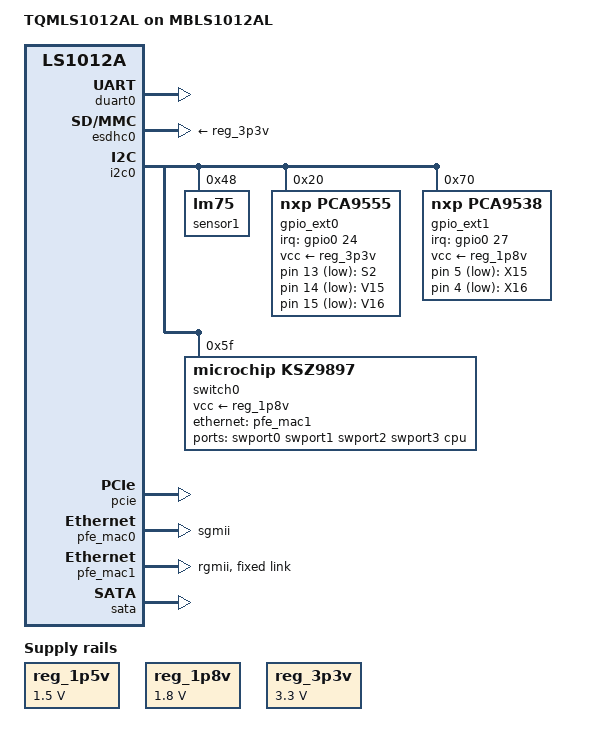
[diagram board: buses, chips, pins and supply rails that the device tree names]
// SPDX-License-Identifier: GPL-2.0
/*
 * Device Tree file for TQ LS1012A MBLS1012AL Board.
 *
 * Copyright 2018 TQ Systems GmbH
 * Max Merchel <Max.Merchel@tq-group.com>
 */

/dts-v1/;

#include "ls1012a-tqmls1012al.dtsi"
#include <dt-bindings/gpio/gpio.h>
#include <dt-bindings/input/input.h>

/ {
	model = "TQMLS1012AL on MBLS1012AL";
	compatible = "tqc,ls1012a-tqmls1012al-tqmbls1012al", "fsl,ls1012a";

	aliases {
		serial0 = &duart0;
		/* use MAC from U-Boot environment */
		ethernet0 = &pfe_mac0;
		ethernet1 = &pfe_mac1;
	};

	chosen {
		linux,stdout-path = &duart0;
		stdout-path = &duart0;
	};

	keys {
		compatible = "gpio-keys";
		autorepeat;
		status = "okay";

		s2 {
			label = "S2";
			linux,code = <BTN_0>;
			gpios = <&gpio_ext0 13 GPIO_ACTIVE_LOW>;
		};

		x15 {
			label = "X15";
			linux,code = <BTN_1>;
			gpios = <&gpio_ext1 5 GPIO_ACTIVE_LOW>;
		};

		x16 {
			label = "X16";
			linux,code = <BTN_2>;
			gpios = <&gpio_ext1 4 GPIO_ACTIVE_LOW>;
		};
	};

	leds {
		compatible = "gpio-leds";
		status = "okay";

		v15 {
			label = "V15";
			gpios = <&gpio_ext0 14 GPIO_ACTIVE_LOW>;
			linux,default-trigger = "heartbeat";
		};

		v16 {
			label = "V16";
			gpios = <&gpio_ext0 15 GPIO_ACTIVE_LOW>;
			default-state = "on";
		};
	};

	reg_1p5v: regulator_1p5v {
		compatible = "regulator-fixed";
		regulator-name = "1P5V";
		regulator-min-microvolt = <1500000>;
		regulator-max-microvolt = <1500000>;
		regulator-always-on;
	};

	reg_1p8v: regulator_1p8v {
		compatible = "regulator-fixed";
		regulator-name = "1P8V";
		regulator-min-microvolt = <1800000>;
		regulator-max-microvolt = <1800000>;
		regulator-always-on;
	};

	reg_3p3v: regulator_3p3v {
		compatible = "regulator-fixed";
		regulator-name = "3P3V";
		regulator-min-microvolt = <3300000>;
		regulator-max-microvolt = <3300000>;
		regulator-always-on;
	};
};

&duart0 {
	status = "okay";
};

&esdhc0 {
	vmmc-supply = <&reg_3p3v>;
	vqmmc-supply = <&reg_1p8v>;
	disable-wp;
	status = "okay";
};

&i2c0 {
	sensor1: lm75@48 {
		compatible = "lm75";
		reg = <0x48>;
		status = "okay";
	};

	gpio_ext0: pca9555@20 {
		compatible = "nxp,pca9555";
		reg = <0x20>;
		gpio-controller;
		#gpio-cells = <2>;
		vcc-supply = <&reg_3p3v>;
		interrupt-parent = <&gpio0>;
		interrupts = <24 IRQ_TYPE_EDGE_FALLING>;

		vcc_pcie_en_3v3 {
			gpio-hog;
			gpios = <1 GPIO_ACTIVE_HIGH>;
			output-high;
			line-name = "VCC_PCIE_EN_3V3";
		};

		pcie_rst {
			gpio-hog;
			gpios = <4 GPIO_ACTIVE_HIGH>;
			output-high;
			line-name = "PCIE_RST#";
		};

		eth_sw_rst {
			gpio-hog;
			gpios = <7 GPIO_ACTIVE_HIGH>;
			output-high;
			line-name = "ETH_SW_RST#";
		};

		pcie_dis {
			gpio-hog;
			gpios = <11 GPIO_ACTIVE_HIGH>;
			output-high;
			line-name = "PCIE_DIS#";
		};
	};

	gpio_ext1: pca9538@70 {
		compatible = "nxp,pca9538";
		reg = <0x70>;
		gpio-controller;
		#gpio-cells = <2>;
		vcc-supply = <&reg_1p8v>;
		interrupt-parent = <&gpio0>;
		interrupts = <27 IRQ_TYPE_EDGE_FALLING>;

		/* do not change PCIE_CLK_PD */
		pcie_clk_pd {
			gpio-hog;
			gpios = <0 GPIO_ACTIVE_HIGH>;
			output-high;
			line-name = "PCIE_CLK_PD#";
		};

		eth_link_pwrdwn {
			gpio-hog;
			gpios = <3 GPIO_ACTIVE_HIGH>;
			output-high;
			line-name = "ETH_LINK_PWRDWN#";
		};

		vcc_pcie_en_1v5 {
			gpio-hog;
			gpios = <7 GPIO_ACTIVE_HIGH>;
			output-high;
			line-name = "VCC_PCIE_EN_1V5";
		};
	};

	switch0: kzs9897@5f {
		compatible = "microchip,ksz9897";
		reg = <0x5f>;
		vcc-supply = <&reg_1p8v>;
		phy-mode = "rgmii";

		ports {
			#address-cells = <1>;
			#size-cells = <0>;

			port@0 {
				reg = <0>;
				label = "swport0";
			};

			port@1 {
				reg = <1>;
				label = "swport1";
			};

			port@2 {
				reg = <2>;
				label = "swport2";
			};

			port@3 {
				reg = <3>;
				label = "swport3";
			};

			port@6 {
				reg = <6>;
				label = "cpu";
				ethernet = <&pfe_mac1>;
				fixed-link {
					speed = <1000>;
					full-duplex;
				};
			};
		};
	};
};

&pcie {
	status = "okay";
};

&pfe_mac0 {
	compatible = "fsl,pfe-gemac-port";
	#address-cells = <1>;
	#size-cells = <0>;
	reg = <0x0>;			/* GEM_ID */
	fsl,gemac-bus-id = <0x0>;	/* BUS_ID */
	fsl,gemac-phy-id = <0x9>;	/* PHY_ID */
	fsl,mdio-mux-val = <0x0>;
	phy-mode = "sgmii";
	fsl,pfe-phy-if-flags = <0x0>;

	mdio@0 {
		reg = <0x1>; /* enabled/disabled */
	};
};

&pfe_mac1 {
	compatible = "fsl,pfe-gemac-port";
	#address-cells = <1>;
	#size-cells = <0>;
	reg = <0x1>;			/* GEM_ID */
	fsl,gemac-bus-id = <0x1>;	/* BUS_ID */
	fsl,gemac-phy-id = <0x1>;	/* PHY_ID */
	fsl,mdio-mux-val = <0x0>;
	phy-mode = "rgmii";
	fsl,pfe-phy-if-flags = <0x2>;

	mdio@0 {
		reg = <0x0>; /* enabled/disabled */
	};

	fixed-link {
		speed = <1000>;
		full-duplex;
	};
};

&sata {
	status = "okay";
};
